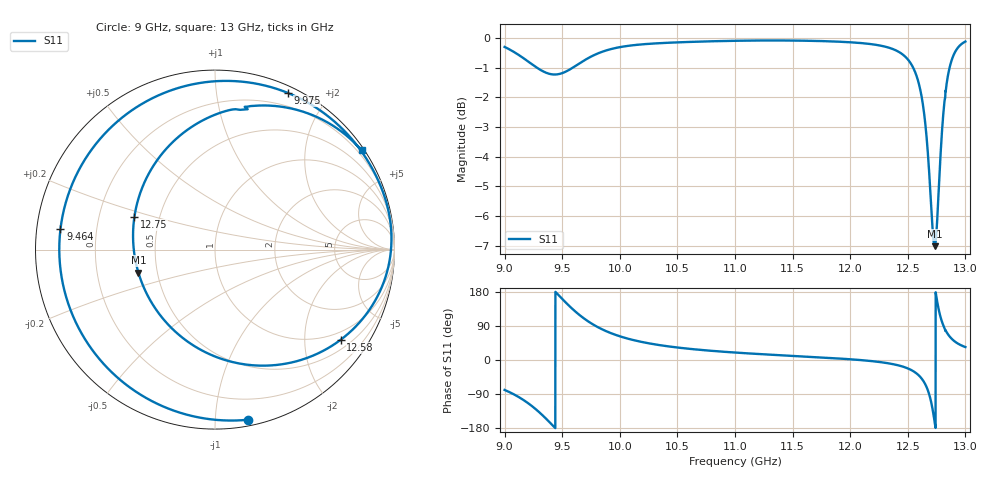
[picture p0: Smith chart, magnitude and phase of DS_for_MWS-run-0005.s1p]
! TOUCHSTONE file generated by CST DESIGN STUDIO
! Date and time: Tue Feb  4 14:17:29 2025
! Project name: C:\Work\MatlabApps\UnitCellOptimizationMatlab\CST\unitcell.cst
! Tree item: Tasks\Sweep1\SPara1\S-Parameters
! Header version: 2024
! Port assignment regex: !\s*Touchstone port\s*([0-9]+)\s*=\s*(CST MWS port|CST DES external port|CST DES block port)\s*(.+)\s* \(\"(.*)\"\)(\s*mode\s*([0-9]+))?.*
! Touchstone port assignment:
! Touchstone port 1 = CST DES external port 1 ("")
# GHz S MA R 50
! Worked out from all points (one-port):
!   4001 points, 9 GHz to 13 GHz, reference 50 ohm
!   lowest |S11| = -7.0 dB at 12.73 GHz (marker M1), VSWR 2.61, Z = 19.5 - j6.22 ohm
!   |S11| at or under -10 dB: nowhere
!   S11 on the Smith chart (normalised r, x): 9 GHz: 0.04, -1.21; 9.464 GHz: 0.07, +0.06; 9.975 GHz: 0.07, +1.56; 12.58 GHz: 0.75, -2.93; 12.75 GHz: 0.36, +0.17; 13 GHz: 0.08, +3.26
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9  0.9656 -79.0
9.134  0.9328 -99.8
9.242  0.9016 -122.7
9.366  0.8727 -156.7
9.464  0.8685 172.5
9.5  0.8723 161.2
9.602  0.8935 131.1
9.701  0.9188 107.0
9.815  0.9425 85.8
9.975  0.9627 65.1
10  0.9648 62.6
10.213  0.9761 46.3
10.5  0.9829 33.0
11  0.9889 19.7
11.5  0.9898 10.8
12  0.9832 1.9
12.306  0.9664 -7.5
12.5  0.9201 -22.2
12.577  0.8617 -35.7
12.629  0.7771 -52.5
12.674  0.6404 -79.8
12.703  0.5205 -111.2
12.733  0.4456 -163.3
12.753  0.4846 157.9
12.79  0.6637 107.3
12.827  0.8142 76.9
12.9  0.9379 50.8
13  0.986 34.1
